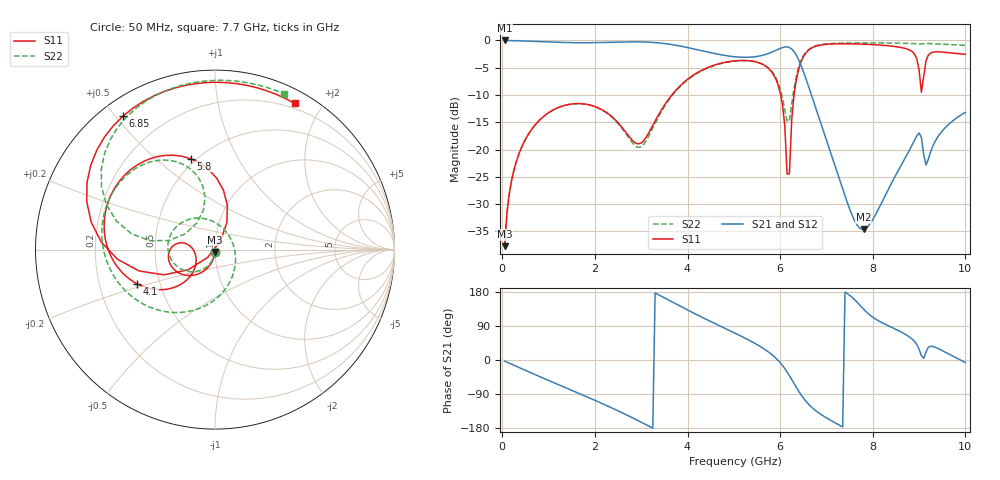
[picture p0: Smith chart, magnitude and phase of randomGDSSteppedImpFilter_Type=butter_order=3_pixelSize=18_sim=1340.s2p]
! freq	dB(S11)	phase(S11)	dB(S12)	phase(S12)
!  dB(S21)	phase(S21)	dB(S22)	phase(S22)
!S-par simulation data
#  GHz  S  DB  R 50
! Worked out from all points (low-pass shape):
!   200 points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, 50 MHz to 10 GHz, reference 50 ohm
!   highest |S21| = 0.00 dB at 50 MHz (marker M1); lowest = -34.6 dB at 7.8 GHz (marker M2)
!   |S21| within 3 dB of the highest: start of sweep to 5.034 GHz; 5.44 GHz to 6.368 GHz (928.1 MHz wide, 15.7 % of centre)
!   lowest |S11| = -37.7 dB at 50 MHz (marker M3), VSWR 1.03, Z = 49.9 - j1.3 ohm
!   |S11| at or under -10 dB: start of sweep to 3.66 GHz; 6.01 GHz to 6.3 GHz (289.3 MHz wide, 4.7 % of centre)
!   |S22| runs from -37.6 to -0.4 dB; largest |S21 - S12| = 0
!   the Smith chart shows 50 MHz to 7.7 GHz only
!   S11 on the Smith chart (normalised r, x): 50 MHz: 1.00, -0.03; 4.1 GHz: 0.37, -0.18; 5.8 GHz: 0.47, +0.65; 6.85 GHz: 0.06, +0.52; 7.7 GHz: 0.14, +1.67
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0.05  -37.70 -92.2  -0.00 -2.8  -0.00 -2.8  -37.58 -92.5
0.2  -25.68 -100.4  -0.03 -11.0  -0.03 -11.0  -25.69 -102.3
0.5  -18.12 -115.3  -0.11 -27.3  -0.11 -27.3  -18.12 -120.5
1.75  -11.62 -171.4  -0.42 -93.2  -0.42 -93.2  -11.63 164.1
2.95  -18.95 -163.6  -0.26 -161.0  -0.26 -161.0  -19.60 21.2
3.4  -13.25 -132.8  -0.47 170.5  -0.47 170.5  -13.56 -69.6
4.1  -6.50 -156.1  -1.49 125.8  -1.49 125.8  -6.61 -134.4
5.05  -3.72 155.7  -3.02 69.3  -3.02 69.3  -3.76 162.8
5.8  -5.60 105.1  -2.22 16.3  -2.22 16.3  -5.46 113.5
6.05  -11.78 74.5  -1.31 -14.4  -1.31 -14.4  -10.52 100.8
6.2  -24.42 -133.3  -1.29 -41.2  -1.29 -41.2  -14.58 151.6
6.35  -7.16 -164.2  -2.70 -72.4  -2.70 -72.4  -6.52 169.3
6.7  -1.30 139.9  -10.61 -126.7  -10.61 -126.7  -1.22 128.6
6.85  -0.88 124.6  -14.44 -141.1  -14.44 -141.1  -0.81 115.6
7.7  -0.66 61.4  -34.23 147.7  -34.23 147.7  -0.45 66.1
7.8  -0.68 54.3  -34.61 134.5  -34.61 134.5  -0.45 61.3
8.35  -0.99 11.6  -27.05 89.7  -27.05 89.7  -0.47 36.6
8.9  -2.48 -47.7  -18.33 49.2  -18.33 49.2  -0.59 13.6
9.05  -9.49 -52.2  -17.75 11.3  -17.75 11.3  -0.65 8.3
9.1  -6.58 -23.4  -20.96 4.6  -20.96 4.6  -0.59 6.5
9.45  -2.10 -77.4  -17.13 27.9  -17.13 27.9  -0.66 -7.8
10  -2.54 -136.2  -13.17 -6.8  -13.17 -6.8  -0.90 -28.1
